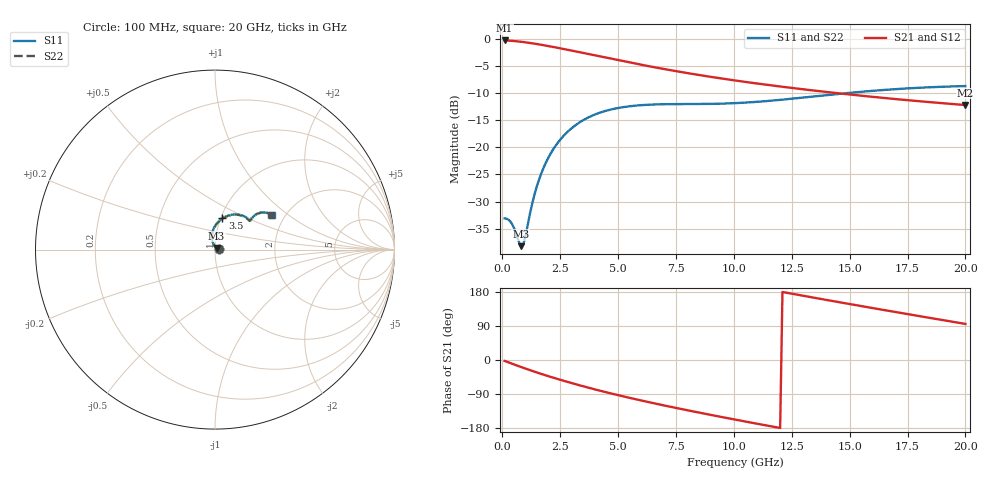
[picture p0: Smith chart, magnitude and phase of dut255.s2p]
! Touchstone file exported from HFSS 2024.1.0
!  File:  C:/UserFiles/LocalFiles/RDL_TSV_Batchsim/temp_RDL_TSV_255_1779457558.aedt
!  Generated:  10:04:53 PM May 22, 2026
!  Design:  RDL_TSV
!  Project:  temp_RDL_TSV_255_1779457558
!  Setup:  Setup1
!  Solution:  Sweep
! Variables:
!  dtsv = 12.03um
!  hbump = 3um
!  htsv = 89.17um
!  ldown = 467.95um
!  lrdl = 571.58um
!  p = 40
!  p1 = 49.64um
!  rhole = 10um
!  subl = 3690.17um
!  t = 450um
!  tdown = 4.74um
!  trdl = 2.42um
!  viad = 10um
!  wdown = 20.16um
!  wrdl = 19.99um
!  xbump = 18um
# GHz S MA R 50.000000
! Terminal data exported
! Port[1] = TM1_1_T1
! Port[2] = TM1_4_T1
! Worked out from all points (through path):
!   200 points, 100 MHz to 20 GHz, reference 50 ohm
!   highest |S21| = -0.20 dB at 100 MHz (marker M1); lowest = -12.1 dB at 20 GHz (marker M2)
!   group delay of S21, straight-line fit = 34.7 ps
!   lowest |S11| = -38.3 dB at 800 MHz (marker M3), VSWR 1.02, Z = 50.9 + j0.857 ohm
!   |S11| at or under -10 dB: start of sweep to 14.74 GHz
!   |S22| runs from -38.2 to -8.7 dB; largest |S21 - S12| = 8.4e-15
!   S11 on the Smith chart (normalised r, x): 100 MHz: 1.05, +0.00; 3.5 GHz: 1.02, +0.37; 20 GHz: 1.70, +0.77
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0.1  0.02208 2.4  0.9772 -2.4  0.9772 -2.4  0.02208 2.4
! Gamma 0 0 0 0
! Port Impedance 50 0 50 0
0.4  0.01996 7.6  0.9695 -9.3  0.9695 -9.3  0.01998 7.5
0.8  0.01222 43.5  0.9514 -18.3  0.9514 -18.3  0.01225 43.1
0.9  0.01255 64.8  0.9457 -20.5  0.9457 -20.5  0.01255 64.3
1  0.01508 83.3  0.9397 -22.6  0.9397 -22.6  0.01502 82.7
1.3  0.03078 105.4  0.9197 -28.9  0.9197 -28.9  0.03057 105.1
1.5  0.04426 107.4  0.9052 -33.0  0.9052 -33.0  0.04397 107.2
1.9  0.07369 103.6  0.8745 -40.9  0.8745 -40.9  0.07323 103.5
2.2  0.09617 98.7  0.8508 -46.7  0.8508 -46.7  0.09558 98.6
2.6  0.1249 91.6  0.8188 -54.0  0.8188 -54.0  0.1242 91.5
3.5  0.1792 76.5  0.7484 -69.5  0.7484 -69.5  0.178 76.4
4.2  0.2093 66.6  0.6968 -80.7  0.6968 -80.7  0.2079 66.6
5.1  0.2338 56.5  0.6361 -94.2  0.6361 -94.2  0.2322 56.5
5.9  0.2453 49.8  0.5881 -105.5  0.5881 -105.5  0.2435 49.7
6.8  0.2507 44.4  0.5407 -117.5  0.5407 -117.5  0.2487 44.4
8.4  0.2523 39.8  0.4718 -137.6  0.4718 -137.6  0.2502 39.9
10.1  0.2574 39.5  0.4154 -157.8  0.4154 -157.8  0.2554 39.7
11.6  0.2707 40.4  0.3758 -174.9  0.3758 -174.9  0.2689 40.7
13.4  0.2956 40.6  0.3373 165.0  0.3373 165.0  0.2941 40.9
15  0.3201 39.4  0.3091 147.7  0.3091 147.7  0.3189 39.7
16.7  0.3432 37.0  0.2841 129.5  0.2841 129.5  0.342 37.3
20  0.37 31.7  0.247 95.2  0.247 95.2  0.3689 31.9
